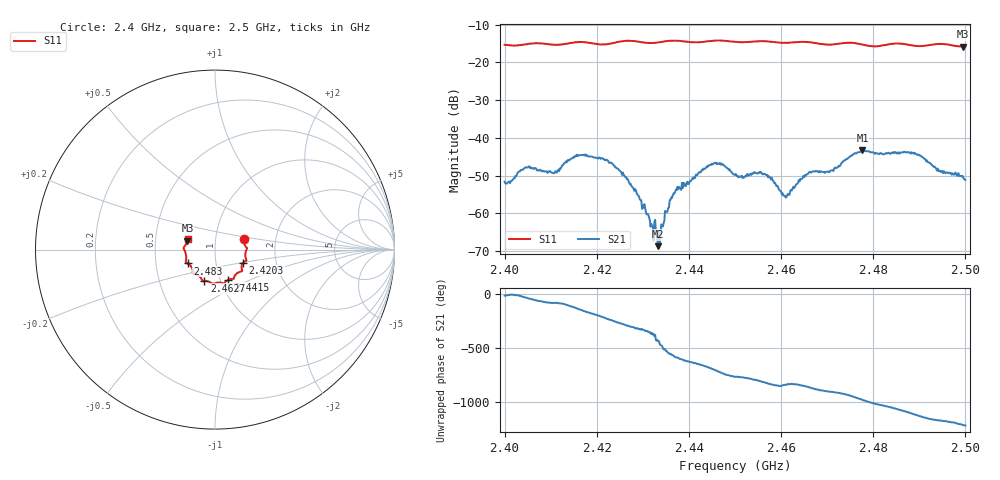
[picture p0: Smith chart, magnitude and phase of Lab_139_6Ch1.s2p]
# Hz S RI R 50
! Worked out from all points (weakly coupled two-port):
!   601 points, 2.4 GHz to 2.5 GHz, reference 50 ohm
!   highest |S21| = -43.35 dB at 2.4777 GHz (marker M1); lowest = -68.7 dB at 2.4333 GHz (marker M2)
!   lowest |S11| = -15.8 dB at 2.4995 GHz (marker M3), VSWR 1.39, Z = 36.5 + j3.72 ohm
!   |S11| at or under -10 dB: start of sweep to end of sweep
!   S12 and S22 are empty: the file has one direction only
!   S11 on the Smith chart (normalised r, x): 2.4 GHz: 1.37, +0.17; 2.4203 GHz: 1.35, -0.20; 2.4415 GHz: 1.09, -0.38; 2.4627 GHz: 0.84, -0.30; 2.483 GHz: 0.73, -0.12; 2.5 GHz: 0.73, +0.08
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2.4e9  0.1604 0.0587  0.00256 -0.000586  0 0  0 0
2.404833e9  0.1733 0.0146  0.00336 -0.00224  0 0  0 0
2.411e9  0.1694 -0.0184  0.000639 -0.00355  0 0  0 0
2.416667e9  0.1753 -0.0611  -0.00497 -0.00326  0 0  0 0
2.420333e9  0.157 -0.0729  -0.00505 0.00175  0 0  0 0
2.426167e9  0.1518 -0.1181  0.000786 0.00292  0 0  0 0
2.433333e9  0.1093 -0.147  8.85e-05 -0.000357  0 0  0 0
2.437e9  0.1039 -0.1633  -0.00138 0.00134  0 0  0 0
2.4415e9  0.0745 -0.1675  0.000684 0.00318  0 0  0 0
2.445833e9  0.051 -0.1875  0.0046 0.000961  0 0  0 0
2.45e9  0.031 -0.1835  0.00219 -0.00237  0 0  0 0
2.456167e9  -0.0116 -0.1903  -0.000429 -0.00331  0 0  0 0
2.460667e9  -0.0427 -0.1759  -0.000928 -0.00143  0 0  0 0
2.462667e9  -0.0595 -0.1738  -0.000965 -0.00204  0 0  0 0
2.466667e9  -0.0737 -0.1675  -0.00321 -0.00154  0 0  0 0
2.470833e9  -0.098 -0.1408  -0.00366 0.000568  0 0  0 0
2.477667e9  -0.1237 -0.1194  -0.000776 0.00676  0 0  0 0
2.483e9  -0.1531 -0.0774  0.00504 0.00362  0 0  0 0
2.483333e9  -0.1552 -0.0764  0.00535 0.00344  0 0  0 0
2.488833e9  -0.1596 -0.0449  0.00497 -0.00361  0 0  0 0
2.4995e9  -0.1539 0.0496  -0.00218 -0.00209  0 0  0 0
2.5e9  -0.1525 0.0564  -0.00213 -0.00178  0 0  0 0
